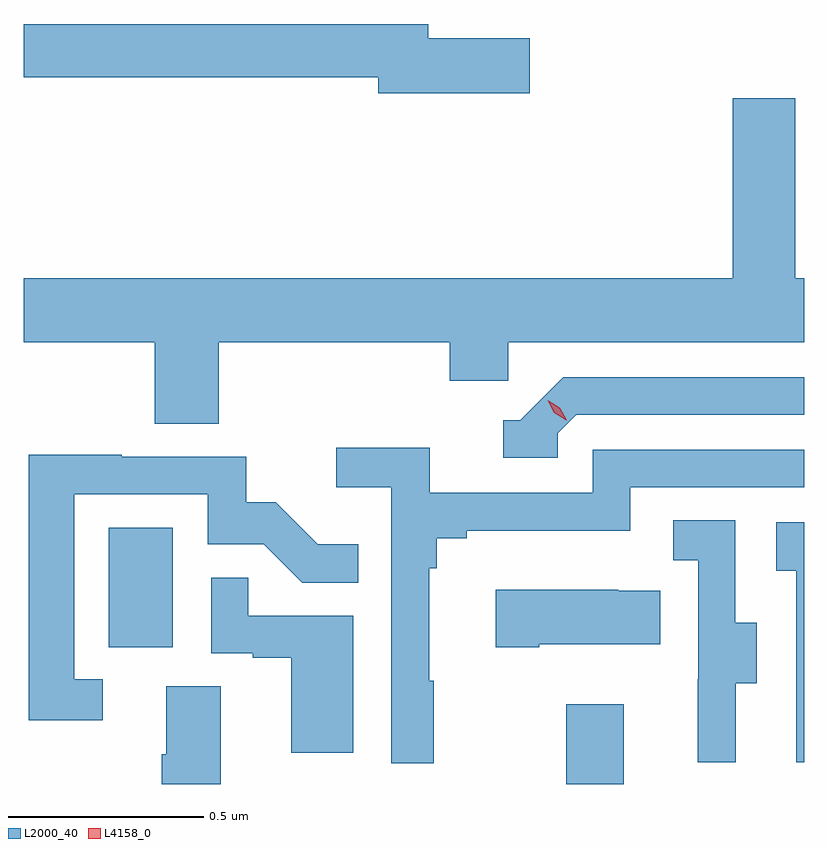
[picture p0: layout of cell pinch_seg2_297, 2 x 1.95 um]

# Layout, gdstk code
import gdstk
lib = gdstk.Library(unit=1e-6, precision=1e-09)
def R(c, l, rs):  # rectangles x0, y0, x1, y1
    for r in rs: c.add(gdstk.rectangle(r[:2], r[2:], *l))
def P(c, l, *ps):  # polygons
    for p in ps: c.add(gdstk.Polygon(p, *l))
L2000_40 = (2000, 40)
L4158_0 = (4158, 0)

pinch_seg2_297 = lib.new_cell('pinch_seg2_297')
R(pinch_seg2_297, L2000_40, [(930.838,643.84,930.985,644.044), (929.666,644.19,929.83,644.497)])
P(pinch_seg2_297, L2000_40, [(930.745,645.752),(930.484,645.752),(930.484,645.788),(929.448,645.788),(929.448,645.652),(930.356,645.652),(930.356,645.61),(930.745,645.61)],
  [(929.948,644.972),(930.539,644.972),(930.539,644.874),(930.69,644.874),(930.69,644.972),(931.448,644.972),(931.448,645.136),(931.425,645.136),(931.425,645.598),(931.265,645.598),(931.265,645.136),(929.448,645.136),(929.448,644.972),(929.783,644.972),(929.783,644.764),(929.948,644.764)],
  [(930.816,644.739),(930.864,644.787),(931.448,644.787),(931.448,644.883),(930.831,644.883),(930.72,644.772),(930.677,644.772),(930.677,644.676),(930.816,644.676)],
  [(930.499,644.105),(930.487,644.105),(930.487,644.393),(930.506,644.393),(930.506,644.47),(930.583,644.47),(930.583,644.489),(931.002,644.489),(931.002,644.601),(931.448,644.601),(931.448,644.697),(930.906,644.697),(930.906,644.586),(930.488,644.586),(930.488,644.702),(930.249,644.702),(930.249,644.6),(930.39,644.6),(930.39,643.893),(930.499,643.893)],
  [(929.65,644.109),(929.577,644.109),(929.577,644.583),(929.919,644.583),(929.919,644.454),(930.063,644.454),(930.161,644.356),(930.305,644.356),(930.305,644.455),(930.201,644.455),(930.094,644.562),(930.018,644.562),(930.018,644.679),(929.699,644.679),(929.699,644.684),(929.461,644.684),(929.461,644.004),(929.65,644.004)],
  [(931.273,644.098),(931.327,644.098),(931.327,644.253),(931.272,644.253),(931.272,644.516),(931.113,644.516),(931.113,644.413),(931.176,644.413),(931.176,644.109),(931.175,644.109),(931.175,643.896),(931.273,643.896)],
  [(931.448,644.511),(931.377,644.511),(931.377,644.387),(931.428,644.387),(931.428,643.896),(931.448,643.896)],
  [(930.292,644.271),(930.023,644.271),(930.023,644.369),(929.928,644.369),(929.928,644.175),(930.035,644.175),(930.035,644.163),(930.134,644.163),(930.134,643.92),(930.292,643.92)],
  [(930.769,644.198),(931.079,644.198),(931.079,644.335),(930.971,644.335),(930.971,644.338),(930.657,644.338),(930.657,644.191),(930.769,644.191)],
  [(929.953,644.09),(929.813,644.09),(929.813,643.916),(929.801,643.916),(929.801,643.84),(929.953,643.84)])
P(pinch_seg2_297, L4158_0, [(930.838,644.772),(930.808,644.791),(930.791,644.823),(930.791,644.824),(930.791,644.824),(930.822,644.804),(930.839,644.772),(930.839,644.772)])

lib.write_gds('pinch_seg2_297.gds')
